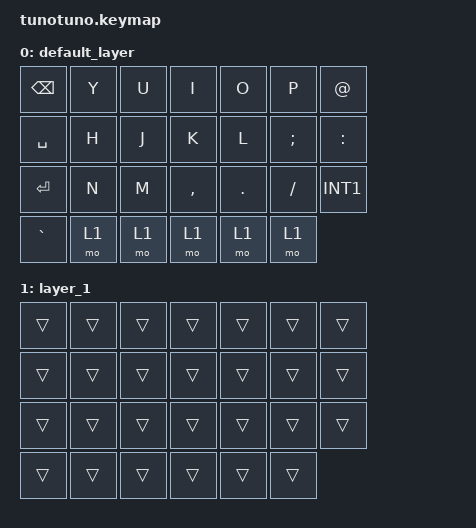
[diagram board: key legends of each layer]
// tunotuno keymap -- TEMPORARY: right half only (27 keys).
// Thumb switch (5 directions) = &mo 1. Layer 1 is a placeholder.

#include <behaviors.dtsi>
#include <dt-bindings/zmk/keys.h>

/ {
    keymap {
        compatible = "zmk,keymap";

        default_layer {
            bindings = <
                &kp BSPC    &kp Y   &kp U   &kp I      &kp O    &kp P      &kp AT
                &kp SPC     &kp H   &kp J   &kp K      &kp L    &kp SEMI   &kp COLON
                &kp ENTER   &kp N   &kp M   &kp COMMA  &kp DOT  &kp SLASH  &kp INT1
                &kp GRAVE   &mo 1   &mo 1   &mo 1      &mo 1    &mo 1
            >;
        };

        layer_1 {
            bindings = <
                &trans &trans &trans &trans &trans &trans &trans
                &trans &trans &trans &trans &trans &trans &trans
                &trans &trans &trans &trans &trans &trans &trans
                &trans &trans &trans &trans &trans &trans
            >;
        };
    };
};
